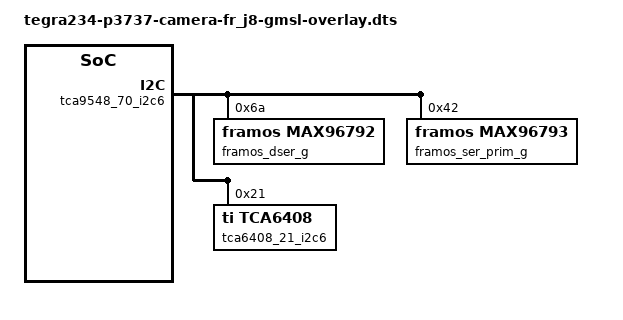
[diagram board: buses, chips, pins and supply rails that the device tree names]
// SPDX-License-Identifier: GPL-2.0
/*
 * Copyright (c) 2024 Framos. All rights reserved.
 *
 * tegra234-p3737-camera-fr_j8-gmsl-overlay.dts
 */

/dts-v1/;
/plugin/;

#include <dt-bindings/clock/tegra234-clock.h>
#include <dt-bindings/gpio/tegra234-gpio.h>
#include <dt-bindings/tegra234-p3737-0000+p3701-0000.h>


/ {
	overlay-name = "Framos GMSL-J8";
	jetson-header-name = "Jetson AGX CSI Connector";
	compatible = JETSON_COMPATIBLE;

	fragment@0 {
		target = <&tca9548_70_i2c6>;
		__overlay__ {
			framos_dser_g: max96792_g@6a {
				compatible = "framos,max96792";
				reg = <0x6a>;
				csi-mode = "2x4";
				max-src = <1>;
			};
			framos_ser_prim_g: max96793_prim_g@42 {
				compatible = "framos,max96793";
				reg = <0x42>;
				nvidia,gmsl-dser-device = <&framos_dser_g>;
				is-prim-ser;
			};
		};
	};

	fragment@1 {
		target = <&sensor_g>;
		__overlay__ {
			nvidia,gmsl-ser-device = <&framos_ser_prim_g>;
			nvidia,gmsl-dser-device = <&framos_dser_g>;
			gmsl-link {
				src-csi-port = "b";
				dst-csi-port = "a";
				serdes-csi-link = "a";
				csi-mode = "1x4";
				st-vc = <0>;
				vc-id = <0>;
				streams = "raw12";
			};
		};
	};

	fragment@2 {
		target = <&tca9548_70_i2c6>;
		__overlay__ {
			tca6408_21_i2c6: tca6408@21 {
				compatible = "ti,tca6408";
				gpio-controller;
				#gpio-cells = <2>;
				reg = <0x21>;
				status = "okay";
				gpio-line-names = "", "", "J8-tca6408_21_i2c6_cresetb";
			};
		};
	};
};
